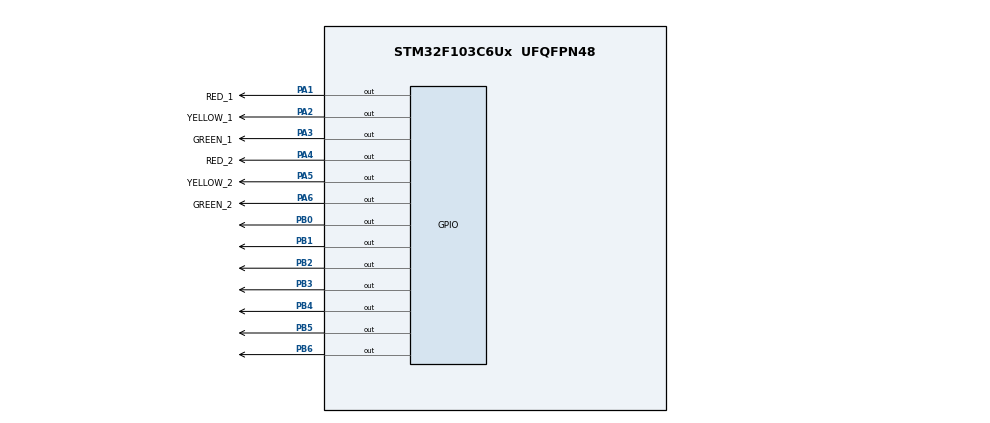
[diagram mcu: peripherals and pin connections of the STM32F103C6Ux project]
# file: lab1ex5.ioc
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Mcu.Family=STM32F1
Mcu.Name=STM32F103C6Ux
Mcu.Package=UFQFPN48
NVIC.PriorityGroup=NVIC_PRIORITYGROUP_4
PA1.GPIO_Label=RED_1
PA1.Signal=GPIO_Output
PA2.GPIO_Label=YELLOW_1
PA2.Signal=GPIO_Output
PA3.GPIO_Label=GREEN_1
PA3.Signal=GPIO_Output
PA4.GPIO_Label=RED_2
PA4.Signal=GPIO_Output
PA5.GPIO_Label=YELLOW_2
PA5.Signal=GPIO_Output
PA6.GPIO_Label=GREEN_2
PA6.Signal=GPIO_Output
PB0.Signal=GPIO_Output
PB1.Signal=GPIO_Output
PB2.Signal=GPIO_Output
PB3.Signal=GPIO_Output
PB4.Signal=GPIO_Output
PB5.Signal=GPIO_Output
PB6.Signal=GPIO_Output
ProjectManager.HeapSize=0x200
ProjectManager.StackSize=0x400
ProjectManager.TargetToolchain=STM32CubeIDE
RCC.APB1Freq_Value=8000000
RCC.APB2Freq_Value=8000000
VP_SYS_VS_ND.Mode=No_Debug
board=custom

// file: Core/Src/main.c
/* USER CODE BEGIN Header */
/**
  ******************************************************************************
  * @file           : main.c
  * @brief          : Main program body
  ******************************************************************************
  * @attention
  *
  * <h2><center>&copy; Copyright (c) 2026 STMicroelectronics.
  * All rights reserved.</center></h2>
  *
  * This software component is licensed by ST under BSD 3-Clause license,
  * the "License"; You may not use this file except in compliance with the
  * License. You may obtain a copy of the License at:
  *                        opensource.org/licenses/BSD-3-Clause
  *
  ******************************************************************************
  */
/* USER CODE END Header */
#include "main.h"

void SystemClock_Config(void);
static void MX_GPIO_Init(void);

/* USER CODE BEGIN 0 */
void display7SEG(int num) {
    GPIO_PinState a = GPIO_PIN_SET;
    GPIO_PinState b = GPIO_PIN_SET;
    GPIO_PinState c = GPIO_PIN_SET;
    GPIO_PinState d = GPIO_PIN_SET;
    GPIO_PinState e = GPIO_PIN_SET;
    GPIO_PinState f = GPIO_PIN_SET;
    GPIO_PinState g = GPIO_PIN_SET;

    switch (num) {
        case 0: a=0; b=0; c=0; d=0; e=0; f=0;      break;
        case 1:      b=0; c=0;                     break;
        case 2: a=0; b=0;      d=0; e=0;      g=0; break;
        case 3: a=0; b=0; c=0; d=0;           g=0; break;
        case 4:      b=0; c=0;           f=0; g=0; break;
        case 5: a=0;      c=0; d=0;      f=0; g=0; break;
        case 6: a=0;      c=0; d=0; e=0; f=0; g=0; break;
        case 7: a=0; b=0; c=0;                     break;
        case 8: a=0; b=0; c=0; d=0; e=0; f=0; g=0; break;
        case 9: a=0; b=0; c=0; d=0;      f=0; g=0; break;
    }

    HAL_GPIO_WritePin(GPIOB, GPIO_PIN_0, a);
    HAL_GPIO_WritePin(GPIOB, GPIO_PIN_1, b);
    HAL_GPIO_WritePin(GPIOB, GPIO_PIN_2, c);
    HAL_GPIO_WritePin(GPIOB, GPIO_PIN_3, d);
    HAL_GPIO_WritePin(GPIOB, GPIO_PIN_4, e);
    HAL_GPIO_WritePin(GPIOB, GPIO_PIN_5, f);
    HAL_GPIO_WritePin(GPIOB, GPIO_PIN_6, g);
}
/* USER CODE END 0 */

int main(void)
{

  /* MCU Configuration--------------------------------------------------------*/

  /* Reset of all peripherals, Initializes the Flash interface and the Systick. */
  HAL_Init();

  /* Configure the system clock */
  SystemClock_Config();

  /* Initialize all configured peripherals */
  MX_GPIO_Init();
  /* USER CODE BEGIN 2 */
  int timer_counter = 0;
  int traffic_state = 0;
  int countdown_val = 0;
  /* USER CODE END 2 */

  /* Infinite loop */
  /* USER CODE BEGIN WHILE */
  while (1)
  {
    switch (traffic_state) {
        case 0: /* ngang đỏ , dọc xanh(3s) */
            HAL_GPIO_WritePin(RED_1_GPIO_Port, RED_1_Pin, GPIO_PIN_SET);
            HAL_GPIO_WritePin(YELLOW_1_GPIO_Port, YELLOW_1_Pin, GPIO_PIN_RESET);
            HAL_GPIO_WritePin(GREEN_1_GPIO_Port, GREEN_1_Pin, GPIO_PIN_RESET);

            HAL_GPIO_WritePin(RED_2_GPIO_Port, RED_2_Pin, GPIO_PIN_RESET);
            HAL_GPIO_WritePin(YELLOW_2_GPIO_Port, YELLOW_2_Pin, GPIO_PIN_RESET);
            HAL_GPIO_WritePin(GREEN_2_GPIO_Port, GREEN_2_Pin, GPIO_PIN_SET);

            countdown_val = 5 - timer_counter;

            timer_counter++;
            if (timer_counter >= 3) {
                traffic_state = 1;
                timer_counter = 0;
            }
            break;

        case 1: /* ngang đỏ dọc vàng(2s) */
            HAL_GPIO_WritePin(GREEN_2_GPIO_Port, GREEN_2_Pin, GPIO_PIN_RESET);
            HAL_GPIO_WritePin(YELLOW_2_GPIO_Port, YELLOW_2_Pin, GPIO_PIN_SET);

            countdown_val = 2 - timer_counter;

            timer_counter++;
            if (timer_counter >= 2) {
                traffic_state = 2;
                timer_counter = 0;
            }
            break;

        case 2: /* ngang xanh, dọc đỏ(3s) */
            HAL_GPIO_WritePin(RED_1_GPIO_Port, RED_1_Pin, GPIO_PIN_RESET);
            HAL_GPIO_WritePin(GREEN_1_GPIO_Port, GREEN_1_Pin, GPIO_PIN_SET);

            HAL_GPIO_WritePin(YELLOW_2_GPIO_Port, YELLOW_2_Pin, GPIO_PIN_RESET);
            HAL_GPIO_WritePin(RED_2_GPIO_Port, RED_2_Pin, GPIO_PIN_SET);

            countdown_val = 3 - timer_counter;

            timer_counter++;
            if (timer_counter >= 3) {
                traffic_state = 3;
                timer_counter = 0;
            }
            break;

        case 3: /* ngang vàng , dọc đỏ(2s) */
            HAL_GPIO_WritePin(GREEN_1_GPIO_Port, GREEN_1_Pin, GPIO_PIN_RESET);
            HAL_GPIO_WritePin(YELLOW_1_GPIO_Port, YELLOW_1_Pin, GPIO_PIN_SET);

            countdown_val = 2 - timer_counter;

            timer_counter++;
            if (timer_counter >= 2) {
                traffic_state = 0;
                timer_counter = 0;
            }
            break;
    }

    display7SEG(countdown_val);

    HAL_Delay(1000);
    /* USER CODE END WHILE */

  }
}

void SystemClock_Config(void)
{
  RCC_OscInitTypeDef RCC_OscInitStruct = {0};
  RCC_ClkInitTypeDef RCC_ClkInitStruct = {0};

  /** Initializes the RCC Oscillators according to the specified parameters
  * in the RCC_OscInitTypeDef structure.
  */
  RCC_OscInitStruct.OscillatorType = RCC_OSCILLATORTYPE_HSI;
  RCC_OscInitStruct.HSIState = RCC_HSI_ON;
  RCC_OscInitStruct.HSICalibrationValue = RCC_HSICALIBRATION_DEFAULT;
  RCC_OscInitStruct.PLL.PLLState = RCC_PLL_NONE;
  if (HAL_RCC_OscConfig(&RCC_OscInitStruct) != HAL_OK)
  {
    Error_Handler();
  }
  /** Initializes the CPU, AHB and APB buses clocks
  */
  RCC_ClkInitStruct.ClockType = RCC_CLOCKTYPE_HCLK|RCC_CLOCKTYPE_SYSCLK
                              |RCC_CLOCKTYPE_PCLK1|RCC_CLOCKTYPE_PCLK2;
  RCC_ClkInitStruct.SYSCLKSource = RCC_SYSCLKSOURCE_HSI;
  RCC_ClkInitStruct.AHBCLKDivider = RCC_SYSCLK_DIV1;
  RCC_ClkInitStruct.APB1CLKDivider = RCC_HCLK_DIV1;
  RCC_ClkInitStruct.APB2CLKDivider = RCC_HCLK_DIV1;

  if (HAL_RCC_ClockConfig(&RCC_ClkInitStruct, FLASH_LATENCY_0) != HAL_OK)
  {
    Error_Handler();
  }
}

static void MX_GPIO_Init(void)
{
  GPIO_InitTypeDef GPIO_InitStruct = {0};

  /* GPIO Ports Clock Enable */
  __HAL_RCC_GPIOA_CLK_ENABLE();
  __HAL_RCC_GPIOB_CLK_ENABLE();

  /*Configure GPIO pin Output Level */
  HAL_GPIO_WritePin(GPIOA, RED_1_Pin|YELLOW_1_Pin|GREEN_1_Pin|RED_2_Pin
                          |YELLOW_2_Pin|GREEN_2_Pin, GPIO_PIN_RESET);

  /*Configure GPIO pin Output Level */
  HAL_GPIO_WritePin(GPIOB, GPIO_PIN_0|GPIO_PIN_1|GPIO_PIN_2|GPIO_PIN_3
                          |GPIO_PIN_4|GPIO_PIN_5|GPIO_PIN_6, GPIO_PIN_RESET);

  /*Configure GPIO pins : RED_1_Pin YELLOW_1_Pin GREEN_1_Pin RED_2_Pin
                           YELLOW_2_Pin GREEN_2_Pin */
  GPIO_InitStruct.Pin = RED_1_Pin|YELLOW_1_Pin|GREEN_1_Pin|RED_2_Pin
                          |YELLOW_2_Pin|GREEN_2_Pin;
  GPIO_InitStruct.Mode = GPIO_MODE_OUTPUT_PP;
  GPIO_InitStruct.Pull = GPIO_NOPULL;
  GPIO_InitStruct.Speed = GPIO_SPEED_FREQ_LOW;
  HAL_GPIO_Init(GPIOA, &GPIO_InitStruct);

  /*Configure GPIO pins : PB0 PB1 PB2 PB3
                           PB4 PB5 PB6 */
  GPIO_InitStruct.Pin = GPIO_PIN_0|GPIO_PIN_1|GPIO_PIN_2|GPIO_PIN_3
                          |GPIO_PIN_4|GPIO_PIN_5|GPIO_PIN_6;
  GPIO_InitStruct.Mode = GPIO_MODE_OUTPUT_PP;
  GPIO_InitStruct.Pull = GPIO_NOPULL;
  GPIO_InitStruct.Speed = GPIO_SPEED_FREQ_LOW;
  HAL_GPIO_Init(GPIOB, &GPIO_InitStruct);

}

void Error_Handler(void)
{
  __disable_irq();
  while (1)
  {
  }
}

/************************ (C) COPYRIGHT STMicroelectronics *****END OF FILE****/
